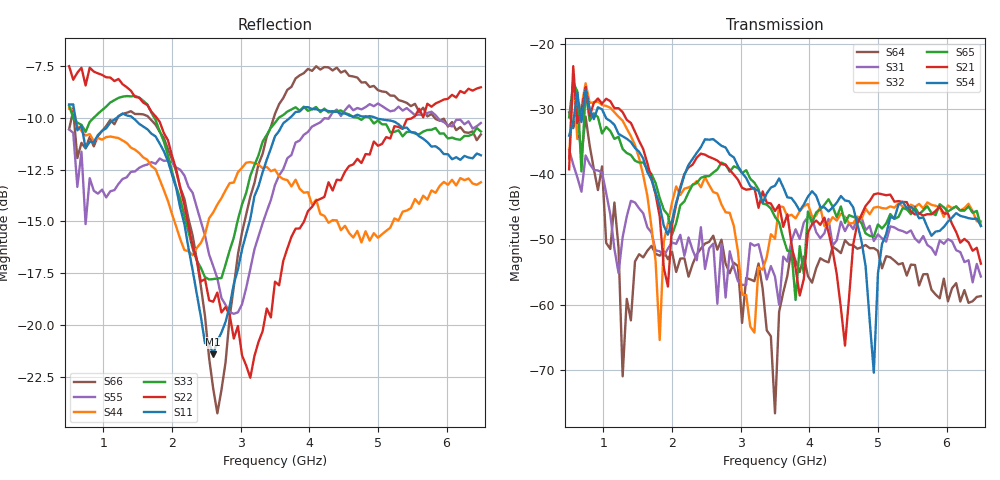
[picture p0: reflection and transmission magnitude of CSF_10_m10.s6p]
!Keysight Technologies,M9804A,MY58100912,A.14.10.03
!Date: Thursday, April 27, 2023 10:28:33
!Correction: S11(C  6-Port  )
!S12(C  6-Port  )
!S13(C  6-Port  )
!S14(C  6-Port  )
!S15(C  6-Port  )
!S16(C  6-Port  )
!S21(C  6-Port  )
!S22(C  6-Port  )
!S23(C  6-Port  )
!S24(C  6-Port  )
!S25(C  6-Port  )
!S26(C  6-Port  )
!S31(C  6-Port  )
!S32(C  6-Port  )
!S33(C  6-Port  )
!S34(C  6-Port  )
!S35(C  6-Port  )
!S36(C  6-Port  )
!S41(C  6-Port  )
!S42(C  6-Port  )
!S43(C  6-Port  )
!S44(C  6-Port  )
!S45(C  6-Port  )
!S46(C  6-Port  )
!S51(C  6-Port  )
!S52(C  6-Port  )
!S53(C  6-Port  )
!S54(C  6-Port  )
!S55(C  6-Port  )
!S56(C  6-Port  )
!S61(C  6-Port  )
!S62(C  6-Port  )
!S63(C  6-Port  )
!S64(C  6-Port  )
!S65(C  6-Port  )
!S66(C  6-Port  )
!S6P File: Measurement: :
# Hz S  RI  R 50
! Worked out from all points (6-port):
!   101 points, 500 MHz to 6.5 GHz, reference 50 ohm
!   strongest paths, dB at 500 MHz, 2 GHz, 3.5 GHz, 5 GHz, 6.5 GHz:
!     S54: -34.1, -47.1, -41.8, -55.2, -47.9
!     S21: -39.3, -47.8, -45.7, -43.0, -53.7
!     S65: -31.3, -49.3, -46.6, -47.7, -48.0
!     S32: -37.6, -44.3, -49.9, -45.0, -47.3
!     S31: -36.3, -50.5, -55.7, -49.2, -55.7
!     S64: -30.6, -51.9, -76.7, -51.8, -58.7
!   lowest |S11| = -21.4 dB at 2.6 GHz (marker M1), VSWR 1.19, Z = 42.5 + j2.2 ohm
!   |S11| at or under -10 dB: 591.6 MHz to 1.189 GHz (597.1 MHz wide, 67.1 % of centre); 1.431 GHz to 3.714 GHz (2.283 GHz wide, 88.7 % of centre); 4.974 GHz to end of sweep
